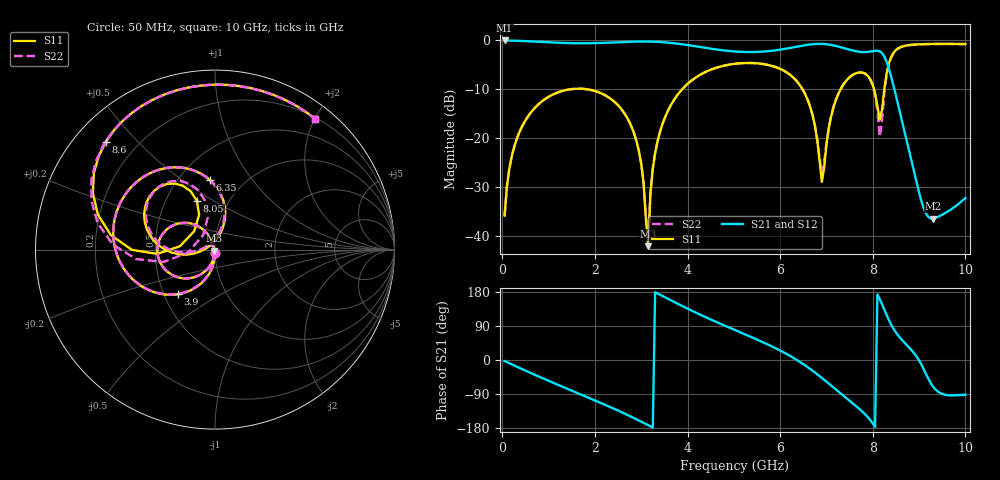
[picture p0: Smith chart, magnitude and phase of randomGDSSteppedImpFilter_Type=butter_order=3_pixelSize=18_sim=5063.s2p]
! freq	dB(S11)	phase(S11)	dB(S12)	phase(S12)
!  dB(S21)	phase(S21)	dB(S22)	phase(S22)
!S-par simulation data
#  GHz  S  DB  R 50
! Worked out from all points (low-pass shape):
!   200 points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, 50 MHz to 10 GHz, reference 50 ohm
!   highest |S21| = 0.00 dB at 50 MHz (marker M1); lowest = -36.4 dB at 9.3 GHz (marker M2)
!   |S21| within 3 dB of the highest: start of sweep to 8.229 GHz
!   lowest |S11| = -42.1 dB at 3.15 GHz (marker M3), VSWR 1.02, Z = 49.6 - j0.678 ohm
!   |S11| at or under -10 dB: start of sweep to 1.458 GHz; 1.843 GHz to 3.883 GHz (2.04 GHz wide, 71.3 % of centre); 6.483 GHz to 7.304 GHz (821.5 MHz wide, 11.9 % of centre) (the widest 3 of 4)
!   |S22| runs from -40.6 to -0.7 dB; largest |S21 - S12| = 0
!   S11 on the Smith chart (normalised r, x): 50 MHz: 1.00, -0.03; 3.9 GHz: 0.59, -0.33; 6.35 GHz: 0.71, +0.64; 8.05 GHz: 0.71, +0.42; 8.6 GHz: 0.09, +0.41; 10 GHz: 0.22, +2.01
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0.05  -35.81 -92.7  -0.00 -2.9  -0.00 -2.9  -35.81 -92.7
0.2  -23.88 -101.6  -0.04 -11.3  -0.04 -11.3  -23.88 -101.6
0.5  -16.34 -118.6  -0.14 -28.0  -0.14 -28.0  -16.34 -118.5
1.75  -9.90 176.0  -0.58 -93.5  -0.58 -93.5  -9.90 176.1
2.8  -17.86 120.2  -0.26 -150.7  -0.26 -150.7  -17.86 121.0
3  -25.25 111.0  -0.22 -162.7  -0.22 -162.7  -25.21 113.1
3.15  -42.07 -120.0  -0.23 -171.9  -0.23 -171.9  -40.65 -130.6
3.25  -26.22 -94.1  -0.25 -178.1  -0.25 -178.1  -26.18 -96.8
3.4  -18.86 -100.4  -0.31 172.5  -0.31 172.5  -18.86 -101.6
3.9  -9.82 -129.7  -0.80 141.6  -0.80 141.6  -9.82 -130.2
5.05  -4.75 167.7  -2.27 77.7  -2.27 77.7  -4.75 167.4
6.35  -8.24 93.9  -1.29 0.9  -1.29 0.9  -8.23 94.2
6.7  -15.30 71.6  -0.77 -28.3  -0.77 -28.3  -15.22 73.3
6.9  -28.92 121.8  -0.71 -47.3  -0.71 -47.3  -27.15 122.7
7.1  -15.58 -170.2  -0.92 -67.2  -0.92 -67.2  -15.47 -174.2
7.35  -9.25 171.6  -1.50 -92.4  -1.50 -92.4  -9.23 168.9
8.05  -10.77 110.4  -2.12 -176.5  -2.12 -176.5  -11.20 101.4
8.15  -16.21 138.4  -2.23 160.8  -2.23 160.8  -19.65 129.4
8.35  -4.64 172.1  -5.81 104.8  -5.81 104.8  -4.85 177.0
8.6  -1.36 135.3  -15.23 57.0  -15.23 57.0  -1.41 137.3
9.3  -0.72 86.2  -36.45 -70.0  -36.45 -70.0  -0.73 86.8
10  -0.75 52.5  -32.21 -91.8  -32.21 -91.8  -0.75 52.8
